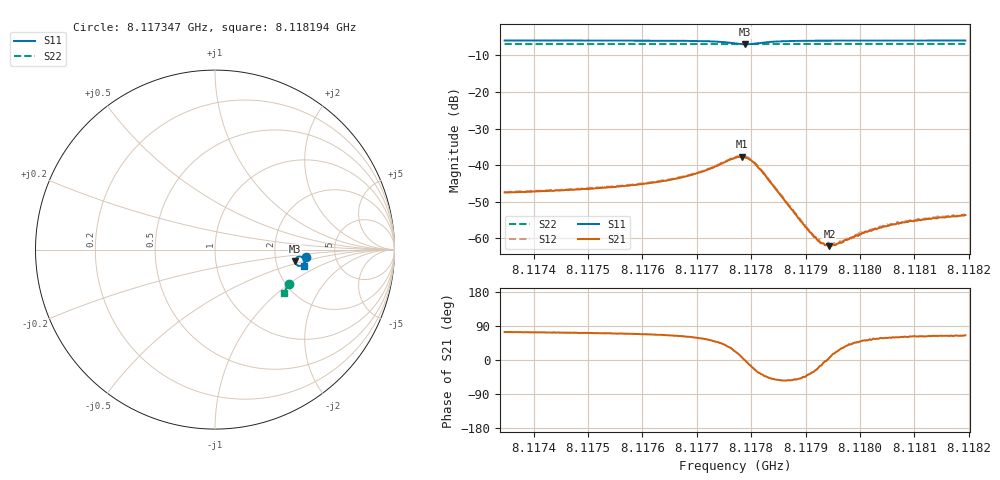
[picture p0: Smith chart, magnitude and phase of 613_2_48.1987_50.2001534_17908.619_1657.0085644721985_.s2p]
#  HZ  S  RI  R  50.00
! Rohde & Schwarz Vector Network Analyzer
! Rohde-Schwarz,ZNB20-2Port,1311601062101988,3.16
! Created: UTC 3/20/2024, 12:03:35 PM
! freq[Hz]  re:S11  im:S11  re:S21  im:S21  re:S12  im:S12  re:S22  im:S22
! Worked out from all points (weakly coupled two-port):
!   401 points, 8.117347 GHz to 8.118194 GHz, reference 50 ohm
!   highest |S21| = -37.71 dB at 8.117783 GHz (marker M1); lowest = -62.2 dB at 8.117944 GHz (marker M2)
!   lowest |S11| = -6.9 dB at 8.117789 GHz (marker M3), VSWR 2.63, Z = 128 - j20.1 ohm
!   |S11| at or under -10 dB: nowhere
!   |S22| runs from -6.9 to -6.8 dB; largest |S21 - S12| = 0.00055
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8.1173468e9  0.5053 -0.0418  0.00119 0.00407  0.00125 0.00411  0.4098 -0.1915
8.1174887e9  0.5034 -0.0546  0.00148 0.00445  0.00158 0.00453  0.4059 -0.2005
8.1175691e9  0.5016 -0.0627  0.00183 0.00489  0.00192 0.00498  0.4034 -0.2058
8.1176305e9  0.4991 -0.0702  0.00237 0.00544  0.00244 0.00554  0.4015 -0.2097
8.1177046e9  0.491 -0.0829  0.00421 0.00668  0.00435 0.00679  0.3989 -0.2146
8.1177702e9  0.455 -0.0851  0.0116 0.00487  0.0118 0.00506  0.3952 -0.2182
8.117783e9  0.4463 -0.0717  0.0129 0.00154  0.0132 0.00172  0.3949 -0.2182
8.1177893e9  0.4454 -0.0626  0.0126 -0.000349  0.0132 -0.000315  0.3945 -0.2183
8.117802e9  0.4529 -0.0464  0.0106 -0.00371  0.0109 -0.0039  0.3947 -0.2183
8.1178126e9  0.464 -0.0397  0.00785 -0.00507  0.00822 -0.00516  0.395 -0.2187
8.1178507e9  0.4902 -0.0461  0.00253 -0.00332  0.00258 -0.00341  0.3948 -0.2216
8.1179121e9  0.4988 -0.0619  0.000949 -0.000599  0.000947 -0.00064  0.3933 -0.2261
8.1179248e9  0.4993 -0.0643  0.00086 -0.000277  0.000905 -0.000317  0.393 -0.227
8.1179312e9  0.4994 -0.0655  0.000839 -0.00015  0.000874 -0.000173  0.3926 -0.2274
8.1179439e9  0.4997 -0.0673  0.000775 7.78e-05  0.000834 7.95e-05  0.3922 -0.2283
8.1179587e9  0.4998 -0.0696  0.000778 0.000335  0.000792 0.000336  0.3917 -0.2291
8.1179862e9  0.4999 -0.0732  0.000754 0.00072  0.000728 0.000711  0.391 -0.2311
8.1179989e9  0.4999 -0.0749  0.000744 0.000841  0.000795 0.000896  0.3903 -0.2318
8.1180137e9  0.4998 -0.0767  0.000758 0.000962  0.000794 0.000979  0.3899 -0.2328
8.118054e9  0.4995 -0.081  0.000765 0.00128  0.000787 0.00129  0.3884 -0.2352
8.1180963e9  0.4989 -0.0852  0.000794 0.00152  0.000842 0.00158  0.3872 -0.238
8.1181937e9  0.4975 -0.094  0.000873 0.00188  0.000871 0.00192  0.3837 -0.2438
